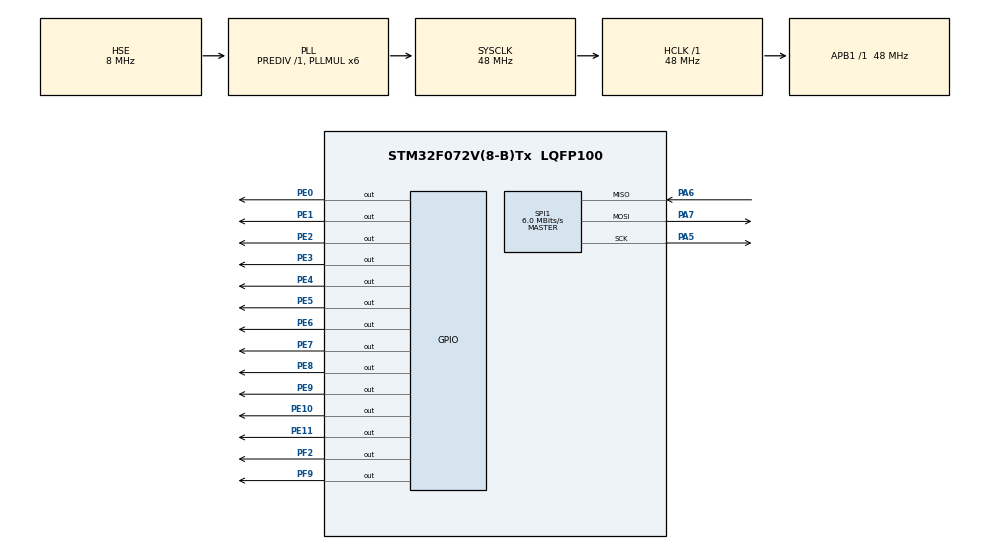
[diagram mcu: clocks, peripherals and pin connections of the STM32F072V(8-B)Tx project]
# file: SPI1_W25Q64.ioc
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Mcu.Family=STM32F0
Mcu.Name=STM32F072V(8-B)Tx
Mcu.Package=LQFP100
PA5.Mode=Full_Duplex_Master
PA5.Signal=SPI1_SCK
PA6.Mode=Full_Duplex_Master
PA6.Signal=SPI1_MISO
PA7.Mode=Full_Duplex_Master
PA7.Signal=SPI1_MOSI
PE0.Signal=GPIO_Output
PE1.Signal=GPIO_Output
PE10.Signal=GPIO_Output
PE11.Signal=GPIO_Output
PE2.Signal=GPIO_Output
PE3.Signal=GPIO_Output
PE4.Signal=GPIO_Output
PE5.Signal=GPIO_Output
PE6.Signal=GPIO_Output
PE7.Signal=GPIO_Output
PE8.Signal=GPIO_Output
PE9.Signal=GPIO_Output
PF0-OSC_IN.Mode=HSE-External-Oscillator
PF0-OSC_IN.Signal=RCC_OSC_IN
PF1-OSC_OUT.Mode=HSE-External-Oscillator
PF1-OSC_OUT.Signal=RCC_OSC_OUT
PF2.Signal=GPIO_Output
PF9.Signal=GPIO_Output
ProjectManager.HeapSize=0x200
ProjectManager.StackSize=0x400
ProjectManager.TargetToolchain=MDK-ARM V5
RCC.AHBFreq_Value=48000000
RCC.APB1Freq_Value=48000000
RCC.APB1TimFreq_Value=48000000
RCC.HCLKFreq_Value=48000000
RCC.HSIState=RCC_HSI_ON
RCC.PLLMUL=RCC_PLL_MUL6
RCC.PLLSourceVirtual=RCC_PLLSOURCE_HSE
RCC.SYSCLKFreq_VALUE=48000000
RCC.SYSCLKSource=RCC_SYSCLKSOURCE_PLLCLK
SPI1.BaudRatePrescaler=SPI_BAUDRATEPRESCALER_8
SPI1.CLKPolarity=SPI_POLARITY_LOW
SPI1.CalculateBaudRate=6.0 MBits/s
SPI1.DataSize=SPI_DATASIZE_8BIT
SPI1.Mode=SPI_MODE_MASTER
board=SPI1_W25Q64

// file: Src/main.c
/**
  ******************************************************************************
  * File Name          : main.c
  * Description        : Main program body
  ******************************************************************************
  *
  * COPYRIGHT(c) 2018 STMicroelectronics
  *
  * Redistribution and use in source and binary forms, with or without modification,
  * are permitted provided that the following conditions are met:
  *   1. Redistributions of source code must retain the above copyright notice,
  *      this list of conditions and the following disclaimer.
  *   2. Redistributions in binary form must reproduce the above copyright notice,
  *      this list of conditions and the following disclaimer in the documentation
  *      and/or other materials provided with the distribution.
  *   3. Neither the name of STMicroelectronics nor the names of its contributors
  *      may be used to endorse or promote products derived from this software
  *      without specific prior written permission.
  *
  * THIS SOFTWARE IS PROVIDED BY THE COPYRIGHT HOLDERS AND CONTRIBUTORS "AS IS"
  * AND ANY EXPRESS OR IMPLIED WARRANTIES, INCLUDING, BUT NOT LIMITED TO, THE
  * IMPLIED WARRANTIES OF MERCHANTABILITY AND FITNESS FOR A PARTICULAR PURPOSE ARE
  * DISCLAIMED. IN NO EVENT SHALL THE COPYRIGHT HOLDER OR CONTRIBUTORS BE LIABLE
  * FOR ANY DIRECT, INDIRECT, INCIDENTAL, SPECIAL, EXEMPLARY, OR CONSEQUENTIAL
  * DAMAGES (INCLUDING, BUT NOT LIMITED TO, PROCUREMENT OF SUBSTITUTE GOODS OR
  * SERVICES; LOSS OF USE, DATA, OR PROFITS; OR BUSINESS INTERRUPTION) HOWEVER
  * CAUSED AND ON ANY THEORY OF LIABILITY, WHETHER IN CONTRACT, STRICT LIABILITY,
  * OR TORT (INCLUDING NEGLIGENCE OR OTHERWISE) ARISING IN ANY WAY OUT OF THE USE
  * OF THIS SOFTWARE, EVEN IF ADVISED OF THE POSSIBILITY OF SUCH DAMAGE.
  *
  ******************************************************************************
  */
#include "stm32f0xx_hal.h"

SPI_HandleTypeDef hspi1;

/* USER CODE BEGIN PV */
/* Private variables ---------------------------------------------------------*/
const uint8_t table0[]= {0x3f,0x06,0x5b,0x4f,0x66,0x6d,0x7d,0x07,0x7f,0x6f};  /* 共阴（无点）*/
const uint8_t table1[]= {0xbf,0x86,0xdb,0xcf,0xe6,0xed,0xfd,0x87,0xff,0xef};  /* 共阴（有点）*/

uint8_t  page_buff[256];   /* 定义页写缓冲区（256字节）*/
uint8_t  sector_buff[4096];/* 定义扇区缓冲区（4096字节）*/
uint8_t  num,display;      /* 定义计数及显示变量 */
uint8_t w25q64_status;     /* 定义状态变量1 */
uint32_t status;           /* 定义状态变量2 */

/* USER CODE END PV */

void SystemClock_Config(void);
void Error_Handler(void);
static void MX_GPIO_Init(void);
static void MX_SPI1_Init(void);

/* USER CODE BEGIN PFP */
/* Private function prototypes -----------------------------------------------*/
void SEG_Display(uint32_t num);     /*  数码管显示函数  */
void W25Q64_CS(uint8_t status);    	/* W25Q64片选函数  */
void W25Q64_Write_Enable(void);			/* W25Q64写使能函数  */
void W25Q64_Chip_Erase(void);				/* W25Q64芯片擦除函数  */
void W25Q64_Sector_Erase(uint32_t address);/* W25Q64扇区擦除函数  */
uint8_t W25Q64_Read_Status_Register1(void);/* W25Q64读状态寄存器1函数  */
uint8_t W25Q64_Read_Status_Register2(void);/* W25Q64读状态寄存器2函数  */
uint8_t W25Q64_Read_Data(uint32_t address);/*  W25Q64读取数据函数  */
void W25Q64_Page_Program_1Byte(uint32_t address,uint8_t prog_data);  /* W25Q64页写（1字节）函数  */
void W25Q64_Page_Program_256Byte(uint32_t address,uint8_t buff256[]);/* W25Q64页写（256字节）函数 */
void W25Q64_Sector_Program_256Byte(uint32_t address,uint8_t pbuff256[],uint16_t byte_number);/* W25Q64扇区编程函数  */
void Error(void);/*  错误函数  */

/* USER CODE END PFP */

int main(void)
{

  /* MCU Configuration----------------------------------------------------------*/

  /* Reset of all peripherals, Initializes the Flash interface and the Systick. */
  HAL_Init();

  /* Configure the system clock */
  SystemClock_Config();

  /* Initialize all configured peripherals */
  MX_GPIO_Init();
  MX_SPI1_Init();

  /* USER CODE BEGIN 2 */

	/* 为页写缓冲区数组赋值0-255 */
	uint16_t  x;
	for(x=0;x<256;x++)
	{
		page_buff[x]=x;
	}
	/* W25Q64写使能 */
	W25Q64_Write_Enable();
	/* 在地址7FFFF0位置开始写入15个字节（值为0-14） */
	W25Q64_Sector_Program_256Byte(0x007FFFF0,page_buff,15);

  /* USER CODE END 2 */

  /* Infinite loop */
  /* USER CODE BEGIN WHILE */
  while (1)
  {
		/* 读取地址7FFFF5地址的数据（应为5）  */
    display=W25Q64_Read_Data(0x007FFFF5);
		/* 数码管显示读取的值 */
		SEG_Display(display);

  /* USER CODE END WHILE */

  }

}

/** System Clock Configuration
*/
void SystemClock_Config(void)
{

  RCC_OscInitTypeDef RCC_OscInitStruct;
  RCC_ClkInitTypeDef RCC_ClkInitStruct;

  RCC_OscInitStruct.OscillatorType = RCC_OSCILLATORTYPE_HSE;
  RCC_OscInitStruct.HSEState = RCC_HSE_ON;
  RCC_OscInitStruct.PLL.PLLState = RCC_PLL_ON;
  RCC_OscInitStruct.PLL.PLLSource = RCC_PLLSOURCE_HSE;
  RCC_OscInitStruct.PLL.PLLMUL = RCC_PLL_MUL6;
  RCC_OscInitStruct.PLL.PREDIV = RCC_PREDIV_DIV1;
  if (HAL_RCC_OscConfig(&RCC_OscInitStruct) != HAL_OK)
  {
    Error_Handler();
  }

  RCC_ClkInitStruct.ClockType = RCC_CLOCKTYPE_HCLK|RCC_CLOCKTYPE_SYSCLK
                              |RCC_CLOCKTYPE_PCLK1;
  RCC_ClkInitStruct.SYSCLKSource = RCC_SYSCLKSOURCE_PLLCLK;
  RCC_ClkInitStruct.AHBCLKDivider = RCC_SYSCLK_DIV1;
  RCC_ClkInitStruct.APB1CLKDivider = RCC_HCLK_DIV1;
  if (HAL_RCC_ClockConfig(&RCC_ClkInitStruct, FLASH_LATENCY_1) != HAL_OK)
  {
    Error_Handler();
  }

  HAL_SYSTICK_Config(HAL_RCC_GetHCLKFreq()/1000);

  HAL_SYSTICK_CLKSourceConfig(SYSTICK_CLKSOURCE_HCLK);

  /* SysTick_IRQn interrupt configuration */
  HAL_NVIC_SetPriority(SysTick_IRQn, 0, 0);
}

/* SPI1 init function */
static void MX_SPI1_Init(void)
{

  hspi1.Instance = SPI1;
  hspi1.Init.Mode = SPI_MODE_MASTER;
  hspi1.Init.Direction = SPI_DIRECTION_2LINES;
  hspi1.Init.DataSize = SPI_DATASIZE_8BIT;
  hspi1.Init.CLKPolarity = SPI_POLARITY_LOW;
  hspi1.Init.CLKPhase = SPI_PHASE_1EDGE;
  hspi1.Init.NSS = SPI_NSS_SOFT;
  hspi1.Init.BaudRatePrescaler = SPI_BAUDRATEPRESCALER_8;
  hspi1.Init.FirstBit = SPI_FIRSTBIT_MSB;
  hspi1.Init.TIMode = SPI_TIMODE_DISABLE;
  hspi1.Init.CRCCalculation = SPI_CRCCALCULATION_DISABLE;
  hspi1.Init.CRCPolynomial = 7;
  hspi1.Init.CRCLength = SPI_CRC_LENGTH_DATASIZE;
  hspi1.Init.NSSPMode = SPI_NSS_PULSE_ENABLE;
  if (HAL_SPI_Init(&hspi1) != HAL_OK)
  {
    Error_Handler();
  }

}

/** Configure pins as
        * Analog
        * Input
        * Output
        * EVENT_OUT
        * EXTI
*/
static void MX_GPIO_Init(void)
{

  GPIO_InitTypeDef GPIO_InitStruct;

  /* GPIO Ports Clock Enable */
  __HAL_RCC_GPIOE_CLK_ENABLE();
  __HAL_RCC_GPIOF_CLK_ENABLE();
  __HAL_RCC_GPIOA_CLK_ENABLE();

  /*Configure GPIO pin Output Level */
  HAL_GPIO_WritePin(GPIOE, GPIO_PIN_2|GPIO_PIN_3|GPIO_PIN_4|GPIO_PIN_5
                          |GPIO_PIN_6|GPIO_PIN_7|GPIO_PIN_8|GPIO_PIN_9
                          |GPIO_PIN_10|GPIO_PIN_11|GPIO_PIN_0|GPIO_PIN_1, GPIO_PIN_RESET);

  /*Configure GPIO pin Output Level */
  HAL_GPIO_WritePin(GPIOF, GPIO_PIN_9|GPIO_PIN_2, GPIO_PIN_RESET);

  /*Configure GPIO pins : PE2 PE3 PE4 PE5
                           PE6 PE7 PE8 PE9
                           PE10 PE11 PE0 PE1 */
  GPIO_InitStruct.Pin = GPIO_PIN_2|GPIO_PIN_3|GPIO_PIN_4|GPIO_PIN_5
                          |GPIO_PIN_6|GPIO_PIN_7|GPIO_PIN_8|GPIO_PIN_9
                          |GPIO_PIN_10|GPIO_PIN_11|GPIO_PIN_0|GPIO_PIN_1;
  GPIO_InitStruct.Mode = GPIO_MODE_OUTPUT_PP;
  GPIO_InitStruct.Pull = GPIO_NOPULL;
  GPIO_InitStruct.Speed = GPIO_SPEED_FREQ_LOW;
  HAL_GPIO_Init(GPIOE, &GPIO_InitStruct);

  /*Configure GPIO pins : PF9 PF2 */
  GPIO_InitStruct.Pin = GPIO_PIN_9|GPIO_PIN_2;
  GPIO_InitStruct.Mode = GPIO_MODE_OUTPUT_PP;
  GPIO_InitStruct.Pull = GPIO_NOPULL;
  GPIO_InitStruct.Speed = GPIO_SPEED_FREQ_LOW;
  HAL_GPIO_Init(GPIOF, &GPIO_InitStruct);

}

/* USER CODE BEGIN 4 */

/*  数码管显示函数  */
void SEG_Display(uint32_t num)
{
	/* 取出四位数显示值 */
  uint8_t GeWei,ShiWei,BaiWei,QianWei;
	GeWei   = (uint8_t)(num%10);
	ShiWei  = (uint8_t)(num%100/10);
	BaiWei  = (uint8_t)(num%1000/100);
	QianWei = (uint8_t)(num/1000);

	/* 使能数码管位驱动  */
	HAL_GPIO_WritePin(GPIOF,GPIO_PIN_2,GPIO_PIN_RESET);

	/* 显示个位 */
	GPIOE->ODR |= (uint16_t)(table0[GeWei]);
	/* 使能个位 */
	HAL_GPIO_WritePin(GPIOE,GPIO_PIN_9|GPIO_PIN_10|GPIO_PIN_11,GPIO_PIN_SET);
	HAL_GPIO_WritePin(GPIOE,GPIO_PIN_8,GPIO_PIN_RESET);
	HAL_Delay(3);
	/* 消隐 */
  GPIOE->ODR &= 0xFF00;
	GPIOE->ODR |= 0x0F00;
	HAL_Delay(1);

	/* 显示十位 */
	GPIOE->ODR |= (uint16_t)(table0[ShiWei]);
	/* 使能十位 */
	HAL_GPIO_WritePin(GPIOE,GPIO_PIN_8|GPIO_PIN_10|GPIO_PIN_11,GPIO_PIN_SET);
	HAL_GPIO_WritePin(GPIOE,GPIO_PIN_9,GPIO_PIN_RESET);
	HAL_Delay(3);
	/* 消隐 */
  GPIOE->ODR &= 0xFF00;
	GPIOE->ODR |= 0x0F00;
	HAL_Delay(1);

	/* 显示百位 */
	GPIOE->ODR |= (uint16_t)(table0[BaiWei]);
	/* 使能百位 */
	HAL_GPIO_WritePin(GPIOE,GPIO_PIN_8|GPIO_PIN_9|GPIO_PIN_11,GPIO_PIN_SET);
	HAL_GPIO_WritePin(GPIOE,GPIO_PIN_10,GPIO_PIN_RESET);
	HAL_Delay(3);
	/* 消隐 */
  GPIOE->ODR &= 0xFF00;
	GPIOE->ODR |= 0x0F00;
	HAL_Delay(1);

	/* 显示千位 */
	GPIOE->ODR |= (uint16_t)(table0[QianWei]);
	/* 使能千位 */
	HAL_GPIO_WritePin(GPIOE,GPIO_PIN_8|GPIO_PIN_9|GPIO_PIN_10,GPIO_PIN_SET);
	HAL_GPIO_WritePin(GPIOE,GPIO_PIN_11,GPIO_PIN_RESET);
	HAL_Delay(3);
	/* 消隐 */
  GPIOE->ODR &= 0xFF00;
	GPIOE->ODR |= 0x0F00;
	HAL_Delay(1);
}

/* W25Q64片选函数  */
void W25Q64_CS(uint8_t status)
{
		if(status==0)
		{
			HAL_GPIO_WritePin(
												GPIOF,
												GPIO_PIN_9,
												GPIO_PIN_RESET
										   );
		}
		else
		{
			HAL_GPIO_WritePin(
												GPIOF,
												GPIO_PIN_9,
												GPIO_PIN_SET
										   );
		}
}
/* W25Q64写使能函数  */
void W25Q64_Write_Enable(void)
{
	/* 将CS端置低，片选W25Q64 */
	W25Q64_CS(0);
	/* 发送06H指令，打开写保护 */
	uint8_t command = 0x06;
	status = HAL_SPI_Transmit (&hspi1,&command,1,5);
	/* 将CS端置高，取消片选W25Q64 */
	W25Q64_CS(1);
}
/* W25Q64芯片擦除函数  */
void W25Q64_Chip_Erase(void)
{
	/* 将CS端置低，片选W25Q64 */
	W25Q64_CS(0);
	/* 发送C7H指令，擦除整个芯片 */
	uint8_t command = 0xC7;
	status = HAL_SPI_Transmit (&hspi1,&command,1,5);
	/* 将CS端置高，取消片选W25Q64 */
	W25Q64_CS(1);
}
/* W25Q64扇区擦除函数  */
void W25Q64_Sector_Erase(uint32_t address)
{
	/* 将CS端置低，片选W25Q64 */
	W25Q64_CS(0);
	/* 发送20H指令，擦除一个扇区*/
	uint8_t command = 0x20;
	status = HAL_SPI_Transmit (&hspi1,&command,1,5);
	/* 发送存储器地址 */
	uint8_t temp;
	temp=address>>16;
	status = HAL_SPI_Transmit (&hspi1,&temp,1,5);
	temp=address>>8;
	status = HAL_SPI_Transmit (&hspi1,&temp,1,5);
	temp=address;
	status = HAL_SPI_Transmit (&hspi1,&temp,1,5);
	/* 将CS端置高，取消片选W25Q64 */
	W25Q64_CS(1);
}
/* W25Q64读状态寄存器1函数  */
uint8_t W25Q64_Read_Status_Register1(void)
{
	/* 将CS端置低，片选W25Q64 */
	W25Q64_CS(0);
	/* 发送05H指令，读取状态寄存器1 */
	uint8_t command = 0x05;
	status = HAL_SPI_Transmit (&hspi1,&command,1,5);
	/* 改变工作边沿为下降沿 */
	SPI1->CR1 |= 0x0001;
	/* 读取状态寄存器1的内容 */
	uint8_t reg1_status;
	status = HAL_SPI_Receive(&hspi1,&reg1_status,1,5);
	/* 改变工作边沿为上升沿 */
	SPI1->CR1 &= 0xFFFE;
	/* 将CS端置高，取消片选W25Q64 */
	W25Q64_CS(1);
	/* 返回状态寄存器1的内容 */
	return reg1_status;
}
/* W25Q64读状态寄存器2函数  */
uint8_t W25Q64_Read_Status_Register2(void)
{
	/* 将CS端置低，片选W25Q64 */
	W25Q64_CS(0);
	/* 发送35H指令，读取状态寄存器2 */
	uint8_t command = 0x35;
	status = HAL_SPI_Transmit (&hspi1,&command,1,5);
	/* 改变工作边沿为下降沿 */
	SPI1->CR1 |= 0x0001;
	/* 读取状态寄存器1的内容 */
	uint8_t reg2_status;
	status = HAL_SPI_Receive(&hspi1,&reg2_status,1,5);
	/* 改变工作边沿为上升沿 */
	SPI1->CR1 &= 0xFFFE;
	/* 将CS端置高，取消片选W25Q64 */
	W25Q64_CS(1);
	/* 返回状态寄存器1的内容 */
	return reg2_status;
}
/*  W25Q64读取数据函数  */
uint8_t W25Q64_Read_Data(uint32_t address)
{
	/* 将CS端置低，片选W25Q64 */
	W25Q64_CS(0);
	/* 发送03H指令，读取某一地址的数据 */
	uint8_t command = 0x03;
	status = HAL_SPI_Transmit (&hspi1,&command,1,5);
 	/* 发送存储器地址 */
	uint8_t temp;
	temp=address>>16;
	status = HAL_SPI_Transmit (&hspi1,&temp,1,5);
	temp=address>>8;
	status = HAL_SPI_Transmit (&hspi1,&temp,1,5);
	temp=address;
	status = HAL_SPI_Transmit (&hspi1,&temp,1,5);
	/* 改变工作边沿为下降沿 */
	SPI1->CR1 |= 0x0001;
	/* 读取当前地址的数据 */
	uint8_t read_data;
	status = HAL_SPI_Receive(&hspi1,&read_data,1,5);
	/* 改变工作边沿为上升沿 */
	SPI1->CR1 &= 0xFFFE;
	/* 将CS端置高，取消片选W25Q64 */
	W25Q64_CS(1);
	/* 将读取到的数据返回 */
	return read_data;
}
/* W25Q64页写（1字节）函数  */
void W25Q64_Page_Program_1Byte(uint32_t address,uint8_t prog_data)
{
	/* 将CS端置低，片选W25Q64 */
	W25Q64_CS(0);
	/* 发送02H指令，最多编程256字节数据 */
	uint8_t command = 0x02;
	status = HAL_SPI_Transmit (&hspi1,&command,1,5);
	/* 发送存储器地址 */
	uint8_t temp;
	temp=address>>16;
	status = HAL_SPI_Transmit (&hspi1,&temp,1,5);
	temp=address>>8;
	status = HAL_SPI_Transmit (&hspi1,&temp,1,5);
	temp=address;
	status = HAL_SPI_Transmit (&hspi1,&temp,1,5);
	/* 发送数据 */
	status = HAL_SPI_Transmit (&hspi1,&prog_data,1,5);
	/* 将CS端置高，取消片选W25Q64 */
	W25Q64_CS(1);
}
/* W25Q64页写（256字节）函数 */
void W25Q64_Page_Program_256Byte(uint32_t address,uint8_t buff256[])
{
	/* 将CS端置低，片选W25Q64 */
	W25Q64_CS(0);
	/* 发送02H指令，最多编程256字节数据 */
	uint8_t command = 0x02;
	status = HAL_SPI_Transmit (&hspi1,&command,1,5);
 	/* 发送存储器地址 */
	uint8_t temp;
	temp=address>>16;
	status = HAL_SPI_Transmit (&hspi1,&temp,1,5);
	temp=address>>8;
	status = HAL_SPI_Transmit (&hspi1,&temp,1,5);
	temp=address;
	status = HAL_SPI_Transmit (&hspi1,&temp,1,5);
	/* 发送数据 */
	uint16_t  x;
	for(x=0;x<256;x++)
	{
		status = HAL_SPI_Transmit (&hspi1,&buff256[x],1,5);
	}
	/* 将CS端置高，取消片选W25Q64 */
	W25Q64_CS(1);
}
/* W25Q64扇区编程函数  */
/* 在任意一个扇区内的指定地址，写入最多256字节数据（带扇区擦除） */
/* 如果扇区内剩余空间小于待写入的数据量，将执行错误函数 */
void W25Q64_Sector_Program_256Byte(uint32_t address,uint8_t pbuff256[],uint16_t byte_number)
{
	/* 获取扇区起始位置地址  */
	uint32_t sector_start_address;
	sector_start_address=address&0xFFFFF000;
	/* 读取当前扇区内所有内容至扇区缓冲区 */
	uint32_t x;
	for(x=0;x<4096;x++)
	{
		sector_buff[x]=W25Q64_Read_Data(sector_start_address+x);
	}
	/* 判断扇区内剩余空间是否足够使用 */
	if((4096-address&0x00000FFF)<byte_number)
	{
		Error();
	}
	/* 获取扇内页地址 */
	uint8_t page_number;  /* 扇区内页号  */
	uint8_t page_address; /* 页内地址    */
	uint16_t temp1;
	temp1=address&0x00000FFF;
	page_number=temp1/256;
	page_address=temp1%256;
	/* 将待写入的数据字节写入扇区缓冲区 */
	uint16_t y;
	for(y=0;y<byte_number;y++)
	{
		sector_buff[page_number*256+page_address+y]=pbuff256[y];
	}
	/* 写允许 */
	W25Q64_Write_Enable();
	/* 擦除该扇区 */
  W25Q64_Sector_Erase(address);
	/* 等待擦写完成 */
	do
	{
		w25q64_status=W25Q64_Read_Status_Register1();
	}
	while(w25q64_status&0x01);
	/* 写允许 */
	W25Q64_Write_Enable();
	/* 将扇区内容一次性写入 */
	uint8_t temp_buff[256];
	uint8_t z;
	uint16_t k;
	for(z=0;z<16;z++)
	{
		for(k=0;k<256;k++)
		{
		    temp_buff[k]=sector_buff[z*256+k];
		}
		/* 写允许 */
		W25Q64_Write_Enable();
		/* 写入256个字节 */
		W25Q64_Page_Program_256Byte(sector_start_address+z*256,temp_buff);
		/* 等待擦写完成 */
		do
		{
			w25q64_status=W25Q64_Read_Status_Register1();
		}
		while(w25q64_status&0x01);
	}
}

/* 错误函数（空） */
void Error(void)
{

}

/* USER CODE END 4 */

void Error_Handler(void)
{
  while(1)
  {
  }
}

/************************ (C) COPYRIGHT STMicroelectronics *****END OF FILE****/
